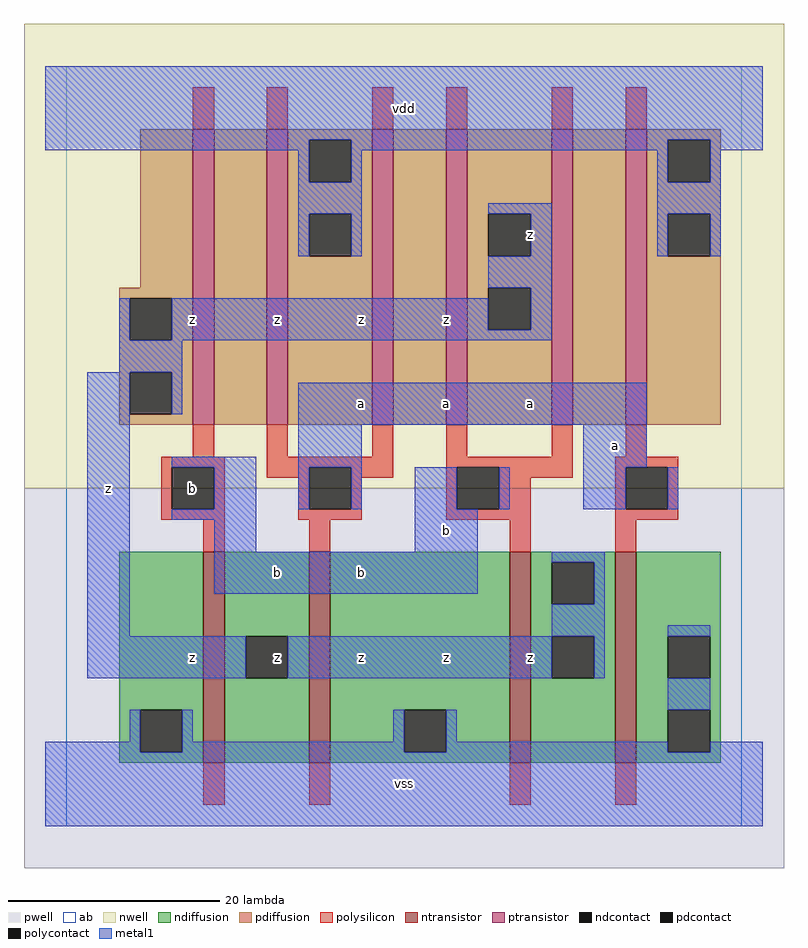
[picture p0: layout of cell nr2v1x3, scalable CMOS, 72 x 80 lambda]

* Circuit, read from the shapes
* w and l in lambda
.subckt nr2v1x3 a b vdd vss z
M1 z b vss VSUBS nfet w=20 l=2 m=2
M2 vss a z VSUBS nfet w=20 l=2 m=2
M3 n1 b z n2 pfet w=28 l=2
M4 vdd a n1 n2 pfet w=28 l=2
M5 n3 a vdd n2 pfet w=28 l=2
M6 z b n3 n2 pfet w=28 l=2
M7 n4 b z n2 pfet w=28 l=2
M8 vdd a n4 n2 pfet w=28 l=2
.ends

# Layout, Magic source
magic
tech scmos
<< ab >>
rect 0 0 64 72
<< pwell >>
rect -4 -4 68 32
<< nwell >>
rect -4 32 68 76
<< polysilicon >>
rect 12 66 14 70
rect 19 66 21 70
rect 29 66 31 70
rect 36 66 38 70
rect 46 66 48 70
rect 53 66 55 70
rect 12 35 14 38
rect 19 35 21 38
rect 29 35 31 38
rect 9 34 15 35
rect 9 30 10 34
rect 14 30 15 34
rect 19 34 31 35
rect 19 33 23 34
rect 9 29 15 30
rect 22 30 23 33
rect 27 33 31 34
rect 36 35 38 38
rect 46 35 48 38
rect 53 35 55 38
rect 36 34 48 35
rect 27 30 28 33
rect 22 29 28 30
rect 36 30 37 34
rect 41 33 48 34
rect 52 34 58 35
rect 41 30 44 33
rect 36 29 44 30
rect 13 26 15 29
rect 23 26 25 29
rect 42 26 44 29
rect 52 30 53 34
rect 57 30 58 34
rect 52 29 58 30
rect 52 26 54 29
rect 13 2 15 6
rect 23 2 25 6
rect 42 2 44 6
rect 52 2 54 6
<< ndiffusion >>
rect 5 11 13 26
rect 5 7 7 11
rect 11 7 13 11
rect 5 6 13 7
rect 15 18 23 26
rect 15 14 17 18
rect 21 14 23 18
rect 15 6 23 14
rect 25 11 42 26
rect 25 7 32 11
rect 36 7 42 11
rect 25 6 42 7
rect 44 25 52 26
rect 44 21 46 25
rect 50 21 52 25
rect 44 18 52 21
rect 44 14 46 18
rect 50 14 52 18
rect 44 6 52 14
rect 54 18 62 26
rect 54 14 57 18
rect 61 14 62 18
rect 54 11 62 14
rect 54 7 57 11
rect 61 7 62 11
rect 54 6 62 7
<< pdiffusion >>
rect 7 51 12 66
rect 5 50 12 51
rect 5 46 6 50
rect 10 46 12 50
rect 5 43 12 46
rect 5 39 6 43
rect 10 39 12 43
rect 5 38 12 39
rect 14 38 19 66
rect 21 65 29 66
rect 21 61 23 65
rect 27 61 29 65
rect 21 58 29 61
rect 21 54 23 58
rect 27 54 29 58
rect 21 38 29 54
rect 31 38 36 66
rect 38 58 46 66
rect 38 54 40 58
rect 44 54 46 58
rect 38 51 46 54
rect 38 47 40 51
rect 44 47 46 51
rect 38 38 46 47
rect 48 38 53 66
rect 55 65 62 66
rect 55 61 57 65
rect 61 61 62 65
rect 55 58 62 61
rect 55 54 57 58
rect 61 54 62 58
rect 55 38 62 54
<< metal1 >>
rect -2 65 66 72
rect -2 64 23 65
rect 22 61 23 64
rect 27 64 57 65
rect 27 61 28 64
rect 22 58 28 61
rect 56 61 57 64
rect 61 64 66 65
rect 61 61 62 64
rect 22 54 23 58
rect 27 54 28 58
rect 40 58 46 59
rect 44 54 46 58
rect 56 58 62 61
rect 56 54 57 58
rect 61 54 62 58
rect 40 51 46 54
rect 5 46 6 50
rect 10 47 40 50
rect 44 47 46 51
rect 10 46 46 47
rect 5 43 11 46
rect 2 18 6 43
rect 10 39 11 43
rect 22 38 55 42
rect 10 34 18 35
rect 14 30 18 34
rect 22 34 28 38
rect 49 34 55 38
rect 22 30 23 34
rect 27 30 28 34
rect 33 30 37 34
rect 41 30 42 34
rect 49 30 53 34
rect 57 30 58 34
rect 10 29 18 30
rect 14 26 18 29
rect 33 26 39 30
rect 14 22 39 26
rect 46 25 51 26
rect 50 21 51 25
rect 46 18 51 21
rect 2 14 17 18
rect 21 14 46 18
rect 50 14 51 18
rect 57 18 61 19
rect 57 11 61 14
rect 6 8 7 11
rect -2 7 7 8
rect 11 8 12 11
rect 31 8 32 11
rect 11 7 32 8
rect 36 8 37 11
rect 36 7 57 8
rect 61 7 66 8
rect -2 0 66 7
<< ntransistor >>
rect 13 6 15 26
rect 23 6 25 26
rect 42 6 44 26
rect 52 6 54 26
<< ptransistor >>
rect 12 38 14 66
rect 19 38 21 66
rect 29 38 31 66
rect 36 38 38 66
rect 46 38 48 66
rect 53 38 55 66
<< polycontact >>
rect 10 30 14 34
rect 23 30 27 34
rect 37 30 41 34
rect 53 30 57 34
<< ndcontact >>
rect 7 7 11 11
rect 17 14 21 18
rect 32 7 36 11
rect 46 21 50 25
rect 46 14 50 18
rect 57 14 61 18
rect 57 7 61 11
<< pdcontact >>
rect 6 46 10 50
rect 6 39 10 43
rect 23 61 27 65
rect 23 54 27 58
rect 40 54 44 58
rect 40 47 44 51
rect 57 61 61 65
rect 57 54 61 58
<< labels >>
rlabel metal1 4 32 4 32 6 z
rlabel ndcontact 20 16 20 16 6 z
rlabel metal1 12 16 12 16 6 z
rlabel metal1 20 24 20 24 6 b
rlabel polycontact 12 32 12 32 6 b
rlabel metal1 12 48 12 48 6 z
rlabel metal1 20 48 20 48 6 z
rlabel metal1 32 4 32 4 6 vss
rlabel metal1 36 16 36 16 6 z
rlabel metal1 28 16 28 16 6 z
rlabel metal1 28 24 28 24 6 b
rlabel metal1 36 28 36 28 6 b
rlabel metal1 28 40 28 40 6 a
rlabel metal1 36 40 36 40 6 a
rlabel metal1 28 48 28 48 6 z
rlabel metal1 36 48 36 48 6 z
rlabel metal1 32 68 32 68 6 vdd
rlabel metal1 44 16 44 16 6 z
rlabel metal1 44 40 44 40 6 a
rlabel metal1 44 56 44 56 6 z
rlabel metal1 52 36 52 36 6 a
<< end >>
